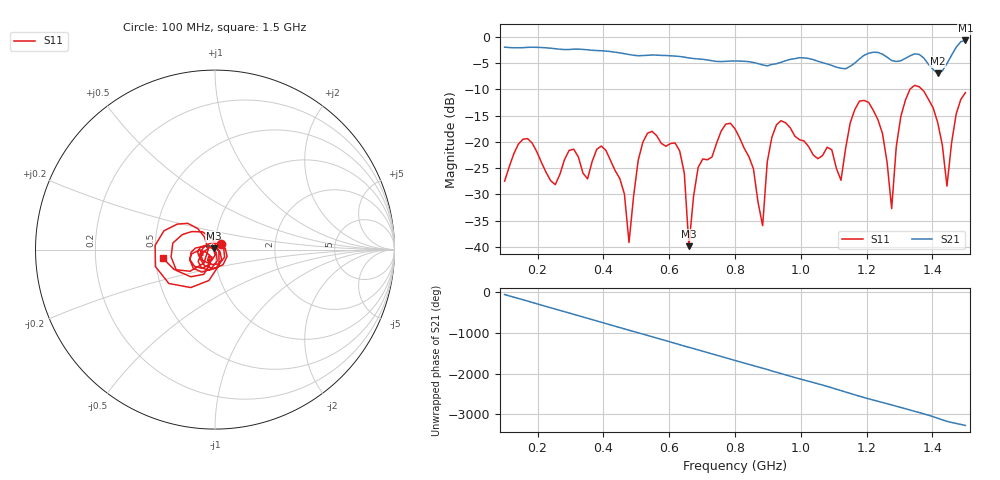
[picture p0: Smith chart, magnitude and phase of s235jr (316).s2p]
! NanoVNA-App
! Date: 2025-09-25 15:06:37
! Start: 100MHz Stop: 1,5GHz Points: 101
! S-Parameter data: F S11 S21 S12 S22
# Hz S RI R 50
!  Frequency  S11_Real  S11_Imag  S21_Real  S21_Imag  S12_Real  S12_Imag  S22_Real  S22_Imag
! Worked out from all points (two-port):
!   101 points, 100 MHz to 1.5 GHz, reference 50 ohm
!   highest |S21| = -0.69 dB at 1.5 GHz (marker M1); lowest = -7.0 dB at 1.416 GHz (marker M2)
!   |S21| within 3 dB of the highest: start of sweep to 622.5 MHz; 1.189 GHz to 1.258 GHz (68.93 MHz wide, 5.64 % of centre) (the widest 2 of 4)
!   lowest |S11| = -39.9 dB at 660 MHz (marker M3), VSWR 1.02, Z = 49.2 + j0.61 ohm
!   |S11| at or under -10 dB: start of sweep to 1.332 GHz; 1.368 GHz to end of sweep
!   S12 and S22 are empty: the file has one direction only
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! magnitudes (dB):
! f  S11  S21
! 100 MHz  -27.5  -2.0
! 170 MHz  -19.4  -2.0
! 338 MHz  -25.9  -2.4
! 408 MHz  -21.6  -2.7
! 478 MHz  -39.2  -3.4
! 520 MHz  -20.1  -3.6
! 576 MHz  -20.3  -3.5
! 632 MHz  -21.7  -3.7
! 660 MHz  -39.9  -4.0
! 688 MHz  -24.9  -4.2
! 800 MHz  -17.5  -4.6
! 884 MHz  -36.0  -5.4
! 926 MHz  -16.7  -5.1
! 1.038 GHz  -22.5  -4.3
! 1.122 GHz  -27.3  -6.0
! 1.206 GHz  -12.5  -3.1
! 1.248 GHz  -18.4  -3.3
! 1.276 GHz  -32.7  -4.5
! 1.332 GHz  -9.9  -3.6
! 1.416 GHz  -16.3  -7.0
! 1.444 GHz  -28.4  -5.1
! 1.5 GHz  -10.6  -0.7
